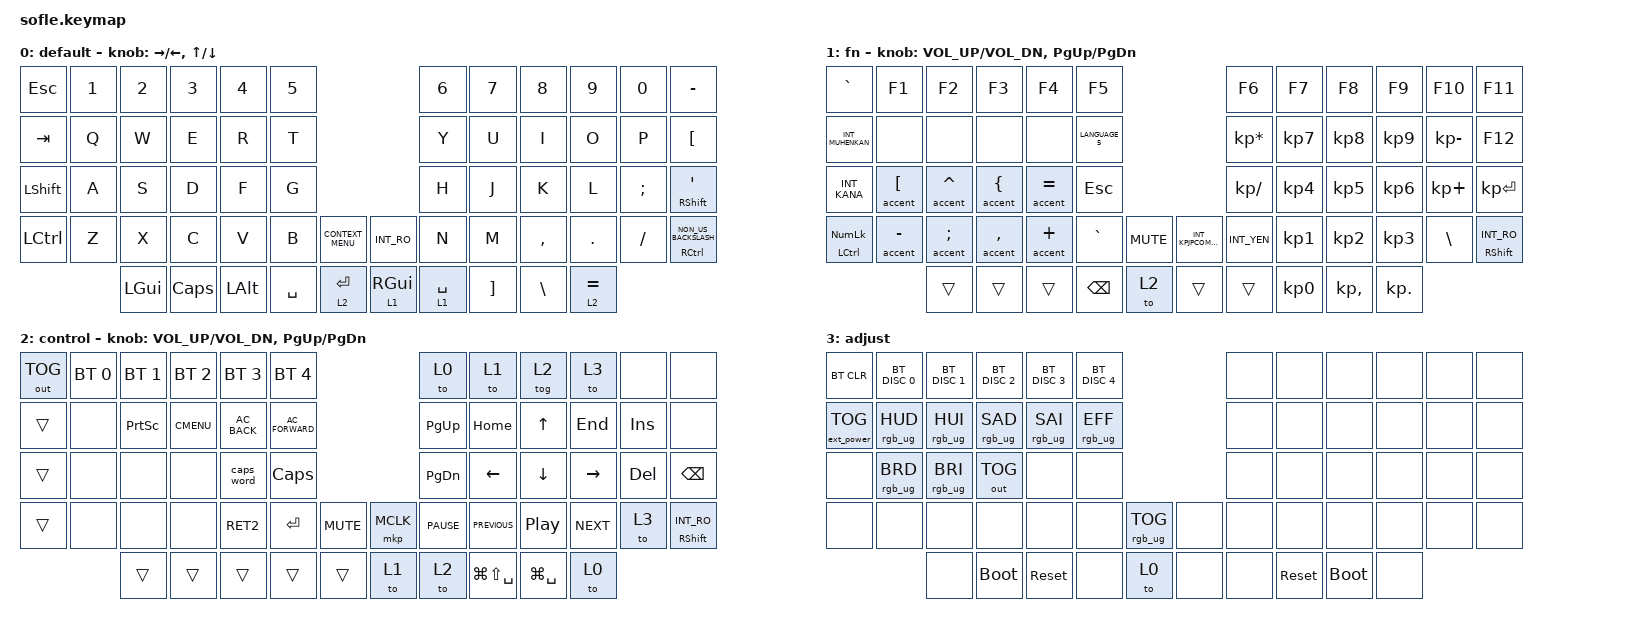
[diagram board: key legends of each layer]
/*
 * Copyright (c) 2020 The ZMK Contributors
 *
 * SPDX-License-Identifier: MIT
 */

#include <behaviors.dtsi>
#include <dt-bindings/zmk/bt.h>
#include <dt-bindings/zmk/ext_power.h>
#include <dt-bindings/zmk/keys.h>
#include <dt-bindings/zmk/mouse.h>
#include <dt-bindings/zmk/outputs.h>
#include <dt-bindings/zmk/rgb.h>

#define BASE 0
#define FN 1
#define CONTROLS 2
#define ADJUST 3

/ {
    combos {
        compatible = "zmk,combos";

        quick-underscore {
            bindings = <&kp RS(INT_RO)>;
            key-positions = <10 49>;
            layers = <0>;
        };
    };

    macros {
        accent: accent {
            compatible = "zmk,behavior-macro-one-param";
            #binding-cells = <1>;
            bindings = <&kp RIGHT_GUI &macro_param_1to1 &kp MACRO_PLACEHOLDER>;
            label = "ACCENT";
        };
    };

    keymap {
        compatible = "zmk,keymap";

        default_layer {
            display-name = "default";
            bindings = <
&kp ESCAPE        &kp N1  &kp N2        &kp N3        &kp N4        &kp N5                                            &kp N6       &kp N7             &kp N8     &kp N9       &kp N0    &kp MINUS
&kp TAB           &kp Q   &kp W         &kp E         &kp R         &kp T                                             &kp Y        &kp U              &kp I      &kp O        &kp P     &kp LEFT_BRACKET
&kp LEFT_SHIFT    &kp A   &kp S         &kp D         &kp F         &kp G                                             &kp H        &kp J              &kp K      &kp L        &kp SEMI  &mt RIGHT_SHIFT SINGLE_QUOTE
&kp LEFT_CONTROL  &kp Z   &kp X         &kp C         &kp V         &kp B      &kp K_CONTEXT_MENU    &kp INT_RO       &kp N        &kp M              &kp COMMA  &kp DOT      &kp FSLH  &mt RIGHT_CONTROL NON_US_BACKSLASH
                          &kp LEFT_GUI  &kp CAPSLOCK  &kp LEFT_ALT  &kp SPACE  &lt 2 RETURN          &lt 1 RIGHT_GUI  &lt 1 SPACE  &kp RIGHT_BRACKET  &kp BSLH   &lt 2 EQUAL
            >;

            sensor-bindings = <&inc_dec_kp RIGHT LEFT>, <&inc_dec_kp UP DOWN>;
        };

        fn_layer {
            display-name = "fn";
            bindings = <
&kp GRAVE             &kp F1                &kp F2             &kp F3              &kp F4         &kp F5                                           &kp F6           &kp F7           &kp F8           &kp F9           &kp F10       &kp F11
&kp INT_MUHENKAN      &none                 &none              &none               &none          &kp LANGUAGE_5                                   &kp KP_ASTERISK  &kp KP_NUMBER_7  &kp KP_NUMBER_8  &kp KP_NUMBER_9  &kp KP_MINUS  &kp F12
&kp INT_KANA          &accent LEFT_BRACKET  &accent CARET      &accent LEFT_BRACE  &accent EQUAL  &kp ESCAPE                                       &kp KP_DIVIDE    &kp KP_NUMBER_4  &kp KP_NUMBER_5  &kp KP_NUMBER_6  &kp KP_PLUS   &kp KP_ENTER
&mt LCTRL KP_NUMLOCK  &accent MINUS         &accent SEMICOLON  &accent COMMA       &accent PLUS   &kp GRAVE       &kp C_MUTE    &kp INT_KPJPCOMMA  &kp INT_YEN      &kp KP_NUMBER_1  &kp KP_NUMBER_2  &kp KP_NUMBER_3  &kp BSLH      &mt RIGHT_SHIFT INT_RO
                                            &trans             &trans              &trans         &kp BACKSPACE   &to 2         &trans             &trans           &kp KP_NUMBER_0  &kp KP_COMMA     &kp KP_DOT
            >;

            sensor-bindings =
                <&inc_dec_kp C_VOL_UP C_VOL_DN>,
                <&inc_dec_kp PAGE_UP PAGE_DOWN>;
        };

        control_layer {
            display-name = "control";
            bindings = <
&out OUT_TOG  &bt BT_SEL 0  &bt BT_SEL 1  &bt BT_SEL 2  &bt BT_SEL 3   &bt BT_SEL 4                               &to 0        &to 1              &tog 2            &to 3       &none    &none
&trans        &none         &kp PSCRN     &kp K_CMENU   &kp C_AC_BACK  &kp C_AC_FORWARD                           &kp PG_UP    &kp HOME           &kp UP            &kp END     &kp INS  &none
&trans        &none         &none         &none         &caps_word     &kp CLCK                                   &kp PG_DN    &kp LEFT           &kp DOWN          &kp RIGHT   &kp DEL  &kp BSPC
&trans        &none         &none         &none         &kp RET2       &kp RET           &kp C_MUTE    &mkp MCLK  &kp C_PAUSE  &kp C_PREVIOUS     &kp C_PLAY_PAUSE  &kp C_NEXT  &to 3    &mt RSHFT INT_RO
                            &trans        &trans        &trans         &trans            &trans        &to 1      &to 2        &kp LG(LS(SPACE))  &kp LG(SPACE)     &to 0
            >;

            sensor-bindings = <&inc_dec_kp C_VOL_UP C_VOL_DN &inc_dec_kp PG_UP PG_DN>;
        };

        adjust_layer {
            // ----------------------------------------------------------------------------------------------------------------------------
            // | BTCLR  |  BT1    |  BT2    |   BT3   |   BT4   |   BT5   |                  |      |      |       |      |       |       |
            // | EXTPWR | RGB_HUD | RGB_HUI | RGB_SAD | RGB_SAI | RGB_EFF |                  |      |      |       |      |       |       |
            // |        | RGB_BRD | RGB_BRI |         |         |         |                  |      |      |       |      |       |       |
            // |        |         |         |         |         |         | RGB_TOG | |      |      |      |       |      |       |       |
            //                    |         |         |         |         |         | |      |      |      |       |      |

            display-name = "adjust";
            bindings = <
&bt BT_CLR         &bt BT_DISC 0    &bt BT_DISC 1    &bt BT_DISC 2    &bt BT_DISC 3    &bt BT_DISC 4                              &none  &none       &none        &none  &none  &none
&ext_power EP_TOG  &rgb_ug RGB_HUD  &rgb_ug RGB_HUI  &rgb_ug RGB_SAD  &rgb_ug RGB_SAI  &rgb_ug RGB_EFF                            &none  &none       &none        &none  &none  &none
&none              &rgb_ug RGB_BRD  &rgb_ug RGB_BRI  &out OUT_TOG     &none            &none                                      &none  &none       &none        &none  &none  &none
&none              &none            &none            &none            &none            &none            &rgb_ug RGB_TOG    &none  &none  &none       &none        &none  &none  &none
                                    &none            &bootloader      &sys_reset       &none            &to 0              &none  &none  &sys_reset  &bootloader  &none
            >;
        };
    };
};
